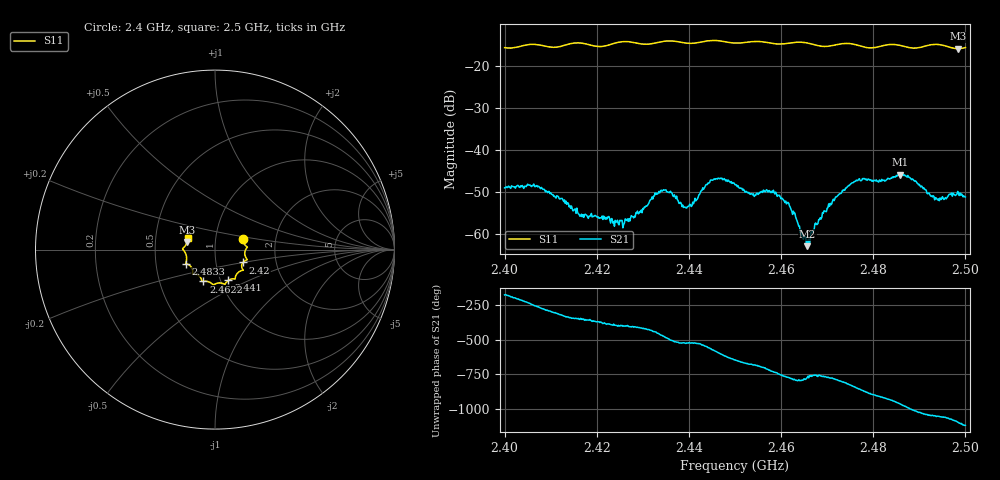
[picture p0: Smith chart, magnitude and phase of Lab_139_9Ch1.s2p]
# Hz S RI R 50
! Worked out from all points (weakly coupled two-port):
!   601 points, 2.4 GHz to 2.5 GHz, reference 50 ohm
!   highest |S21| = -45.80 dB at 2.4858 GHz (marker M1); lowest = -62.8 dB at 2.4657 GHz (marker M2)
!   lowest |S11| = -15.9 dB at 2.4983 GHz (marker M3), VSWR 1.38, Z = 36.5 + j3.09 ohm
!   |S11| at or under -10 dB: start of sweep to end of sweep
!   S12 and S22 are empty: the file has one direction only
!   S11 on the Smith chart (normalised r, x): 2.4 GHz: 1.35, +0.16; 2.42 GHz: 1.35, -0.20; 2.441 GHz: 1.09, -0.39; 2.4622 GHz: 0.83, -0.30; 2.4833 GHz: 0.71, -0.12; 2.5 GHz: 0.73, +0.10
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2.4e9  0.1543 0.0592  -0.00355 -0.000353  0 0  0 0
2.4075e9  0.1779 0.0112  -0.000295 0.00367  0 0  0 0
2.416667e9  0.1784 -0.0569  0.00172 0.000233  0 0  0 0
2.42e9  0.1555 -0.0713  0.0016 -0.000253  0 0  0 0
2.426167e9  0.1579 -0.1149  0.00114 -0.00101  0 0  0 0
2.433333e9  0.1131 -0.154  -0.000162 -0.00308  0 0  0 0
2.435833e9  0.1117 -0.1644  -0.00237 -0.00204  0 0  0 0
2.439e9  0.0945 -0.1632  -0.00202 -0.000638  0 0  0 0
2.441e9  0.0752 -0.1706  -0.00224 -0.000592  0 0  0 0
2.445167e9  0.0549 -0.1936  -0.00368 0.00242  0 0  0 0
2.45e9  0.025 -0.1855  0.00109 0.00373  0 0  0 0
2.453833e9  -0.00509 -0.195  0.00233 0.0018  0 0  0 0
2.4585e9  -0.0291 -0.182  0.00302 -0.000832  0 0  0 0
2.462167e9  -0.0645 -0.1772  0.000917 -0.00174  0 0  0 0
2.465667e9  -0.074 -0.1725  0.000422 -0.000588  0 0  0 0
2.466667e9  -0.0754 -0.166  0.000728 -0.00075  0 0  0 0
2.475e9  -0.1249 -0.1357  -0.00117 -0.00375  0 0  0 0
2.483333e9  -0.1614 -0.0785  -0.00395 0.00238  0 0  0 0
2.485833e9  -0.1613 -0.0697  -0.0021 0.00468  0 0  0 0
2.493833e9  -0.1806 0.00495  0.00237 0.00115  0 0  0 0
2.498333e9  -0.1552 0.0413  0.0031 -0.000943  0 0  0 0
2.5e9  -0.1526 0.065  0.00212 -0.00179  0 0  0 0
